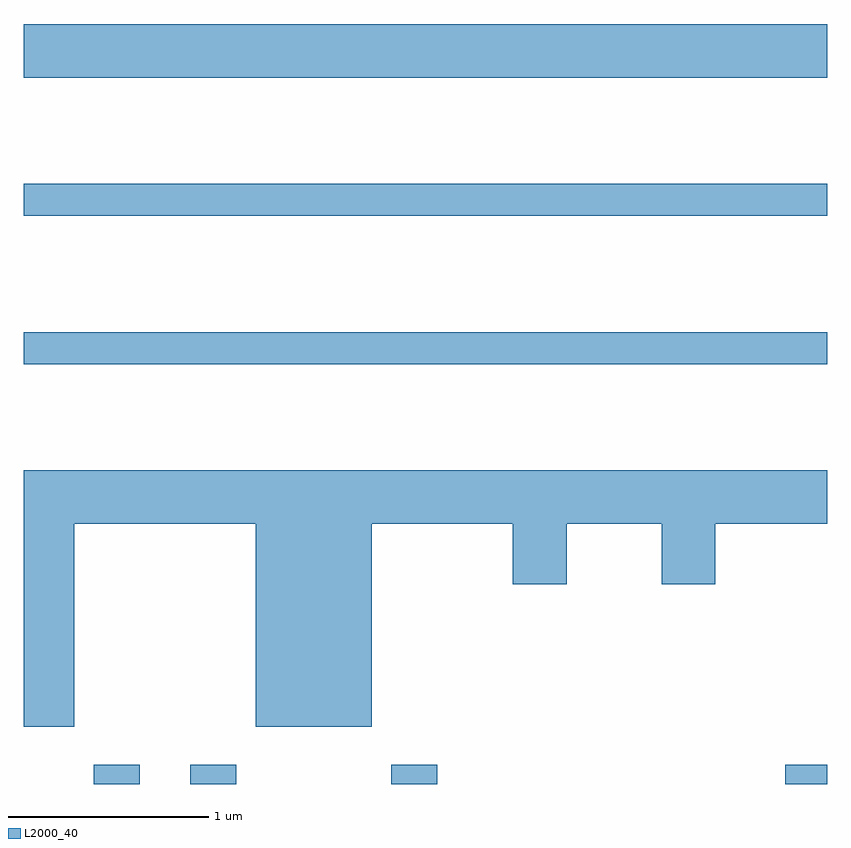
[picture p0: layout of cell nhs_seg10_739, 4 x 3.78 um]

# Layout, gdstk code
import gdstk
lib = gdstk.Library(unit=1e-6, precision=1e-09)
def R(c, l, rs):  # rectangles x0, y0, x1, y1
    for r in rs: c.add(gdstk.rectangle(r[:2], r[2:], *l))
def P(c, l, *ps):  # polygons
    for p in ps: c.add(gdstk.Polygon(p, *l))
L2000_40 = (2000, 40)

nhs_seg10_739 = lib.new_cell('nhs_seg10_739')
R(nhs_seg10_739, L2000_40, [(205.961,2212.522,206.189,2212.619), (206.441,2212.522,206.669,2212.619), (207.441,2212.522,207.669,2212.619), (209.401,2212.522,209.611,2212.619), (205.611,2214.611,209.611,2214.769), (205.611,2215.351,209.611,2215.509), (205.611,2216.036,209.611,2216.304)])
P(nhs_seg10_739, L2000_40, [(205.864,2213.816),(206.766,2213.816),(206.766,2212.806),(207.344,2212.806),(207.344,2213.816),(208.046,2213.816),(208.046,2213.516),(208.314,2213.516),(208.314,2213.816),(208.786,2213.816),(208.786,2213.516),(209.054,2213.516),(209.054,2213.816),(209.611,2213.816),(209.611,2214.084),(205.611,2214.084),(205.611,2212.806),(205.864,2212.806)])

lib.write_gds('nhs_seg10_739.gds')
